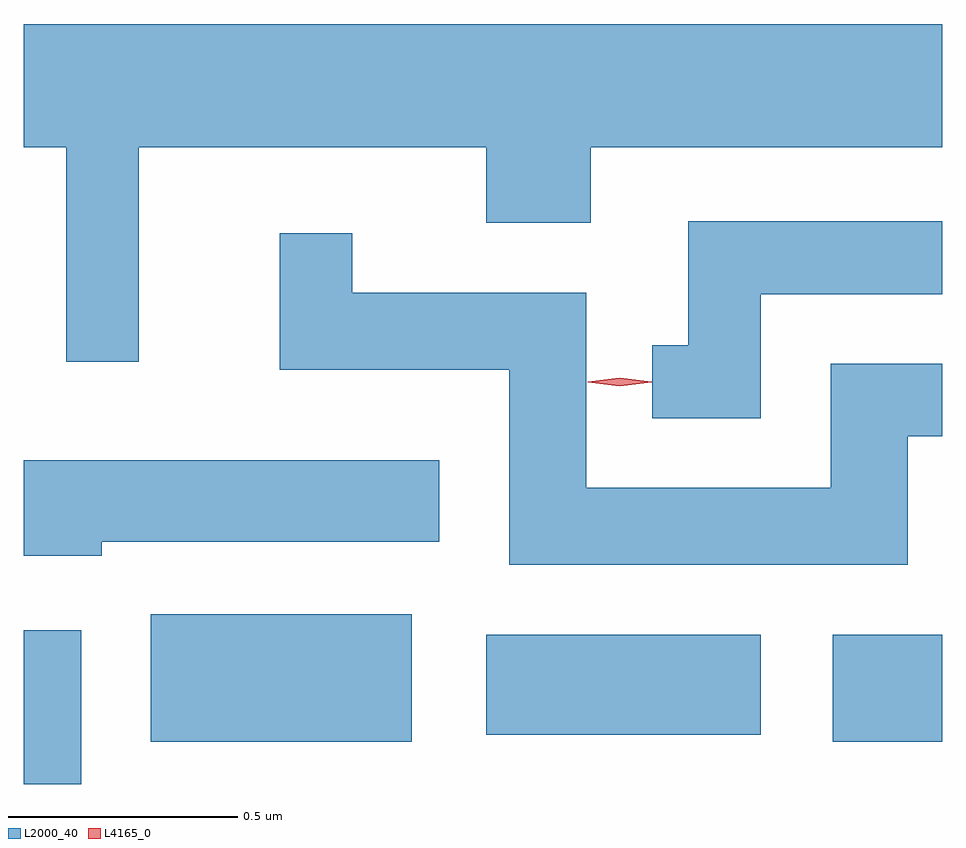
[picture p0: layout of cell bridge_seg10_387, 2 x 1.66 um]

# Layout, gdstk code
import gdstk
lib = gdstk.Library(unit=1e-6, precision=1e-09)
def R(c, l, rs):  # rectangles x0, y0, x1, y1
    for r in rs: c.add(gdstk.rectangle(r[:2], r[2:], *l))
def P(c, l, *ps):  # polygons
    for p in ps: c.add(gdstk.Polygon(p, *l))
L2000_40 = (2000, 40)
L4165_0 = (4165, 0)

bridge_seg10_387 = lib.new_cell('bridge_seg10_387')
R(bridge_seg10_387, L2000_40, [(1104.464,2094.769,1104.589,2095.104), (1104.741,2094.861,1105.309,2095.139), (1106.226,2094.861,1106.464,2095.094), (1105.471,2094.876,1106.069,2095.094)])
P(bridge_seg10_387, L2000_40, [(1104.714,2096.156),(1105.471,2096.156),(1105.471,2095.991),(1105.699,2095.991),(1105.699,2096.156),(1106.464,2096.156),(1106.464,2096.424),(1104.464,2096.424),(1104.464,2096.156),(1104.556,2096.156),(1104.556,2095.688),(1104.714,2095.688)],
  [(1106.069,2095.836),(1106.464,2095.836),(1106.464,2095.994),(1105.911,2095.994),(1105.911,2095.724),(1105.833,2095.724),(1105.833,2095.566),(1106.069,2095.566)],
  [(1106.389,2095.526),(1106.464,2095.526),(1106.464,2095.684),(1106.221,2095.684),(1106.221,2095.414),(1105.689,2095.414),(1105.689,2095.839),(1105.179,2095.839),(1105.179,2095.968),(1105.021,2095.968),(1105.021,2095.671),(1105.521,2095.671),(1105.521,2095.246),(1106.389,2095.246)],
  [(1104.634,2095.296),(1105.369,2095.296),(1105.369,2095.474),(1104.464,2095.474),(1104.464,2095.266),(1104.634,2095.266)])
P(bridge_seg10_387, L4165_0, [(1105.762,2095.635),(1105.692,2095.644),(1105.692,2095.644),(1105.692,2095.645),(1105.762,2095.654),(1105.831,2095.645),(1105.831,2095.645),(1105.831,2095.644)])

lib.write_gds('bridge_seg10_387.gds')
